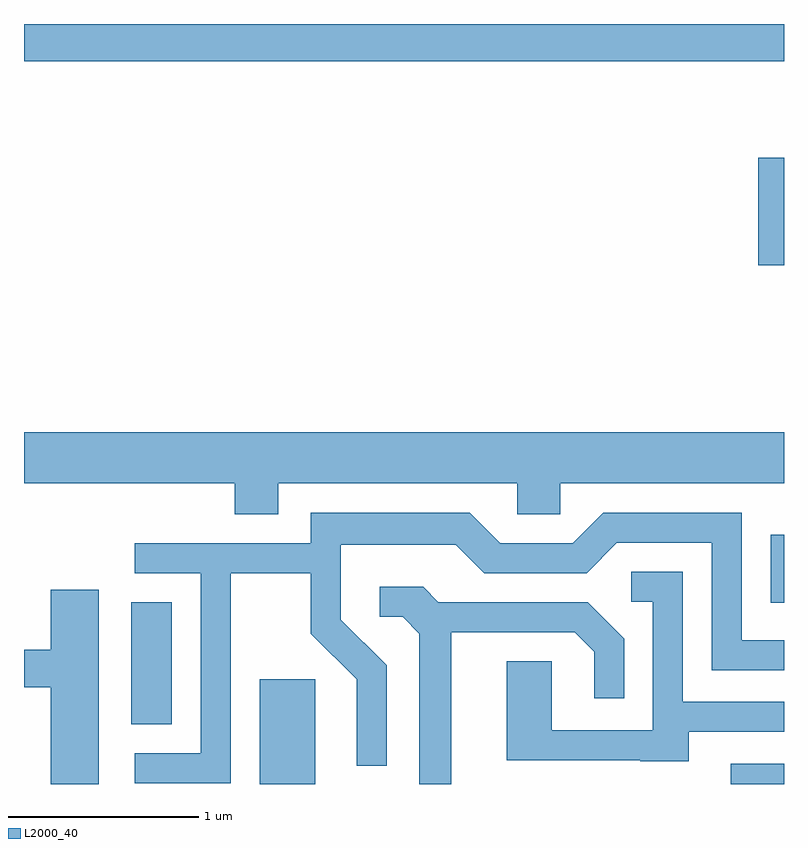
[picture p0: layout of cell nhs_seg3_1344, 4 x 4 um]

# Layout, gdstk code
import gdstk
lib = gdstk.Library(unit=1e-6, precision=1e-09)
def R(c, l, rs):  # rectangles x0, y0, x1, y1
    for r in rs: c.add(gdstk.rectangle(r[:2], r[2:], *l))
def P(c, l, *ps):  # polygons
    for p in ps: c.add(gdstk.Polygon(p, *l))
L2000_40 = (2000, 40)

nhs_seg3_1344 = lib.new_cell('nhs_seg3_1344')
R(nhs_seg3_1344, L2000_40, [(224.851,1219.892,225.144,1220.444), (227.331,1219.892,227.611,1219.999), (224.176,1220.206,224.389,1220.849), (227.541,1220.846,227.611,1221.203), (227.476,1222.621,227.611,1223.189), (223.611,1223.696,227.611,1223.892)])
P(nhs_seg3_1344, L2000_40, [(224.949,1221.476),(226.206,1221.476),(226.206,1221.311),(226.434,1221.311),(226.434,1221.476),(227.611,1221.476),(227.611,1221.744),(223.611,1221.744),(223.611,1221.476),(224.721,1221.476),(224.721,1221.311),(224.949,1221.311)],
  [(224.699,1221.001),(225.121,1221.001),(225.121,1220.684),(225.361,1220.444),(225.361,1219.988),(225.519,1219.988),(225.519,1220.517),(225.279,1220.757),(225.279,1221.151),(225.884,1221.151),(226.034,1221.001),(226.572,1221.001),(226.732,1221.161),(227.231,1221.161),(227.231,1220.491),(227.611,1220.491),(227.611,1220.649),(227.389,1220.649),(227.389,1221.319),(226.659,1221.319),(226.499,1221.159),(226.117,1221.159),(225.957,1221.319),(225.121,1221.319),(225.121,1221.159),(224.193,1221.159),(224.193,1221.001),(224.541,1221.001),(224.541,1220.054),(224.193,1220.054),(224.193,1219.896),(224.699,1219.896)],
  [(227.109,1220.166),(227.611,1220.166),(227.611,1220.324),(227.079,1220.324),(227.079,1221.009),(226.808,1221.009),(226.808,1220.851),(226.921,1220.851),(226.921,1220.174),(226.389,1220.174),(226.389,1220.539),(226.151,1220.539),(226.151,1220.016),(226.855,1220.016),(226.855,1220.011),(227.109,1220.011)],
  [(225.859,1220.691),(226.509,1220.691),(226.611,1220.589),(226.611,1220.343),(226.769,1220.343),(226.769,1220.657),(226.577,1220.849),(225.792,1220.849),(225.712,1220.929),(225.483,1220.929),(225.483,1220.771),(225.604,1220.771),(225.691,1220.684),(225.691,1219.892),(225.859,1219.892)],
  [(224.004,1220.914),(223.751,1220.914),(223.751,1220.599),(223.611,1220.599),(223.611,1220.401),(223.751,1220.401),(223.751,1219.892),(224.004,1219.892)])

lib.write_gds('nhs_seg3_1344.gds')
